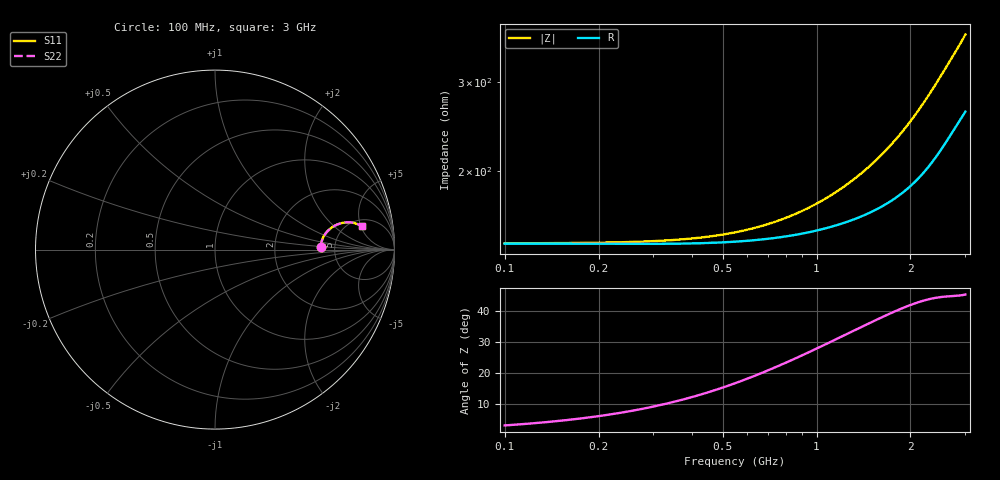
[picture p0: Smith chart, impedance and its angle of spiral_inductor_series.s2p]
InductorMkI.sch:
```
<Qucs Schematic 26.1.1>
<Properties>
  <View=-1682,-908,2315,861,0.513074,193,0>
  <Grid=10,10,1>
  <DataSet=InductorMkI.dat>
  <DataDisplay=InductorMkI.dpl>
  <OpenDisplay=0>
  <Script=PassiveTest.m>
  <RunScript=0>
  <showFrame=0>
  <FrameText0=Title>
  <FrameText1=Drawn By:>
  <FrameText2=Date:>
  <FrameText3=Revision:>
</Properties>
<Symbol>
</Symbol>
<Components>
  <GND * 1 -110 300 0 0 0 0>
  <SpiceInclude SpiceInclude1 1 -520 -580 -37 16 0 0 "/foss/pdks/gf180mcuD/libs.tech/ngspice/design.ngspice" 1 "" 0 "" 0 "" 0 "" 0>
  <GND * 1 240 300 0 0 0 0>
  <Pac P1 1 240 250 18 -26 0 1 "2" 1 "50 Ohm" 1 "-50 dBm" 0 "1.7 GHz" 0 "26.85" 0 "true" 0 "false" 0>
  <Pac P2 1 -110 250 18 -26 0 1 "1" 1 "50 Ohm" 1 "-50 dBm" 0 "1.7 GHz" 0 "26.85" 0 "true" 0 "false" 0>
  <SpiceLib SpiceLib1 1 -544 -404 -14 16 0 0 "/foss/pdks/gf180mcuD/libs.tech/ngspice/sm141064.ngspice" 1 "bjt_typical" 1>
  <NutmegEq NutmegEq2 1 -530 -20 -31 16 0 0 "SP1" 1 "s11_db=dB(s_1_1)" 1 "s21_db=dB(s_2_1)" 1 "s12_db=dB(s_1_2)" 1 "s22_db=dB(s_2_2)" 1>
  <SpiceLib SpiceLib2 1 -544 -494 -14 16 0 0 "/foss/pdks/gf180mcuD/libs.tech/ngspice/sm141064.ngspice" 1 "typical" 1>
  <SpiceLib SpiceLib3 1 -544 -314 -14 16 0 0 "/foss/pdks/gf180mcuD/libs.tech/ngspice/sm141064.ngspice" 1 "cap_mim" 1>
  <SpiceLib SpiceLib4 1 -544 -224 -14 16 0 0 "/foss/pdks/gf180mcuD/libs.tech/ngspice/sm141064.ngspice" 1 "mimcap_typical" 1>
  <SpiceLib SpiceLib5 1 -544 -134 -14 16 0 0 "/foss/pdks/gf180mcuD/libs.tech/ngspice/sm141064.ngspice" 1 "res_typical" 1>
  <GND * 1 70 340 0 0 0 0>
  <NutmegEq NutmegEq4 1 -350 70 -31 16 0 0 "ALL" 1 "inductance=z_2_1 / (2 * pi * frequency)" 1>
  <NutmegEq NutmegEq3 1 -350 -20 -31 16 0 0 "ALL" 1 "capacitance=1 / (2 * pi * frequency * z_2_1)" 1>
  <GND * 1 130 340 0 0 0 0>
  <SPfile X2 1 70 260 -60 -26 0 1 "spiral_inductor_series.s2p" 0 "rectangular" 0 "linear" 0 "open" 0 "2" 0>
  <.SP SP1 1 -750 -30 0 50 0 0 "lin" 1 "1 MHz" 1 "3 GHz" 1 "200" 1 "no" 0 "1" 0 "2" 0 "no" 0 "no" 0>
</Components>
<Wires>
  <-110 280 -110 300 "" 0 0 0 "">
  <-110 200 -110 220 "" 0 0 0 "">
  <240 280 240 300 "" 0 0 0 "">
  <240 200 240 220 "" 0 0 0 "">
  <70 200 240 200 "" 0 0 0 "">
  <70 200 70 230 "" 0 0 0 "">
  <70 290 70 340 "" 0 0 0 "">
  <100 260 130 260 "" 0 0 0 "">
  <130 260 130 340 "" 0 0 0 "">
  <70 200 -110 200 "" 0 0 0 "">
</Wires>
<Diagrams>
  <Rect 70 -301 541 349 3 #c0c0c0 1 00 1 0 5e+08 5e+09 1 -83.8379 20 7.62163 1 -1 0.5 1 315 0 225 1 0 0 "" "" "">
	<"ngspice/ac.s11_db" #0000ff 0 3 0 0 0>
	<"ngspice/ac.s21_db" #ff0000 0 3 0 0 0>
  </Rect>
  <Rect 70 101 544 291 3 #c0c0c0 1 00 0 0 5e+08 3e+09 1 -37.2968 100 410.264 1 -1 0.5 1 315 0 225 1 0 0 "" "" "">
	<"ngspice/ac.z_2_1" #0000ff 0 3 0 0 0>
  </Rect>
  <Rect 720 101 544 291 3 #c0c0c0 1 00 0 0 5e+08 3e+09 0 -1e-07 5e-08 1e-07 1 -1 0.5 1 315 0 225 1 0 0 "" "" "">
	<"ngspice/ac.inductance" #ff0000 0 3 0 0 0>
  </Rect>
</Diagrams>
<Paintings>
</Paintings>
```
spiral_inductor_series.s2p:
! openEMS square spiral inductor as an ideal series two-port
! Dout=100um w=1um s=1um turns=7 layers=2
# HZ S RI R 50
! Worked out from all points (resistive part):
!   151 points, 100 MHz to 3 GHz, reference 50 ohm
!   read as one part in series: R = 143 ohm at 100 MHz
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1e8  0.5895 0.0124  0.4105 -0.0124  0.4105 -0.0124  0.5895 0.0124
2.74e8  0.5917 0.0348  0.4083 -0.0348  0.4083 -0.0348  0.5917 0.0348
4.48e8  0.598 0.0575  0.402 -0.0575  0.402 -0.0575  0.598 0.0575
6.413333e8  0.6098 0.0808  0.3902 -0.0808  0.3902 -0.0808  0.6098 0.0808
8.54e8  0.6268 0.1024  0.3732 -0.1024  0.3732 -0.1024  0.6268 0.1024
1.182667e9  0.6575 0.1273  0.3425 -0.1273  0.3425 -0.1273  0.6575 0.1273
1.55e9  0.6945 0.1446  0.3055 -0.1446  0.3055 -0.1446  0.6945 0.1446
1.84e9  0.724 0.1511  0.276 -0.1511  0.276 -0.1511  0.724 0.1511
2.149333e9  0.7545 0.1516  0.2455 -0.1516  0.2455 -0.1516  0.7545 0.1516
2.536e9  0.7882 0.1441  0.2118 -0.1441  0.2118 -0.1441  0.7882 0.1441
3e9  0.8203 0.1316  0.1797 -0.1316  0.1797 -0.1316  0.8203 0.1316
